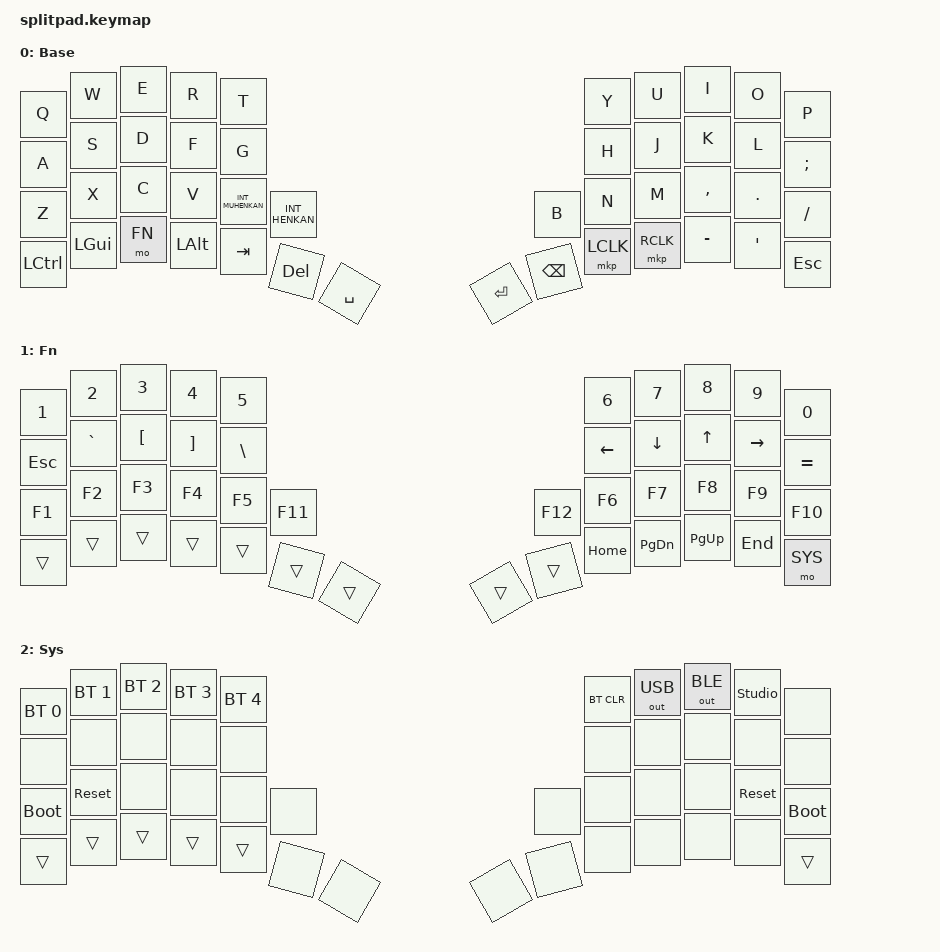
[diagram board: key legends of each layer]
/*
 * SplitPad keymap (first draft, based on keyboard-layout_v7.json).
 * Can be changed later from ZMK Studio (https://zmk.studio/) without reflashing.
 *
 * Host: Windows. "English" key = Muhenkan (IME off), "Kana" key = Henkan (IME on)
 * -> set these in the Microsoft IME key settings.
 */

#include <behaviors.dtsi>
#include <dt-bindings/zmk/keys.h>
#include <dt-bindings/zmk/bt.h>
#include <dt-bindings/zmk/outputs.h>
#include <dt-bindings/zmk/pointing.h>

#define BASE 0
#define FN   1
#define SYS  2

/ {
    keymap {
        compatible = "zmk,keymap";

        base_layer {
            display-name = "Base";
            bindings = <
&kp Q     &kp W    &kp E     &kp R    &kp T                                       &kp Y      &kp U     &kp I     &kp O    &kp P
&kp A     &kp S    &kp D     &kp F    &kp G                                       &kp H      &kp J     &kp K     &kp L    &kp SEMI
&kp Z     &kp X    &kp C     &kp V    &kp INT_MUHENKAN &kp INT_HENKAN   &kp B     &kp N      &kp M     &kp COMMA &kp DOT  &kp FSLH
&kp LCTRL &kp LGUI &mo FN    &kp LALT &kp TAB                                     &mkp LCLK  &mkp RCLK &kp MINUS &kp SQT  &kp ESC
                                               &kp DEL  &kp SPACE   &kp RET  &kp BSPC
            >;
        };

        fn_layer {
            display-name = "Fn";
            bindings = <
&kp N1    &kp N2    &kp N3    &kp N4    &kp N5                                    &kp N6     &kp N7     &kp N8     &kp N9    &kp N0
&kp ESC   &kp GRAVE &kp LBKT  &kp RBKT  &kp BSLH                                  &kp LEFT   &kp DOWN   &kp UP     &kp RIGHT &kp EQUAL
&kp F1    &kp F2    &kp F3    &kp F4    &kp F5    &kp F11              &kp F12    &kp F6     &kp F7     &kp F8     &kp F9    &kp F10
&trans    &trans    &trans    &trans    &trans                                    &kp HOME   &kp PG_DN  &kp PG_UP  &kp END   &mo SYS
                                                  &trans  &trans       &trans  &trans
            >;
        };

        sys_layer {
            display-name = "Sys";
            bindings = <
&bt BT_SEL 0  &bt BT_SEL 1  &bt BT_SEL 2  &bt BT_SEL 3  &bt BT_SEL 4                         &bt BT_CLR  &out OUT_USB  &out OUT_BLE  &studio_unlock  &none
&none         &none         &none         &none         &none                                &none       &none         &none         &none           &none
&bootloader   &sys_reset    &none         &none         &none         &none         &none    &none       &none         &none         &sys_reset      &bootloader
&trans        &trans        &trans        &trans        &trans                               &none       &none         &none         &none           &trans
                                                        &none         &none         &none    &none
            >;
        };
    };
};
